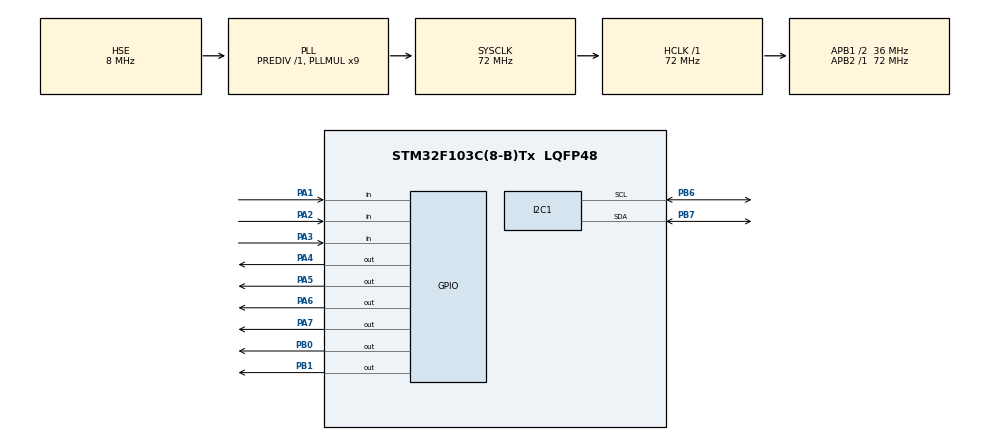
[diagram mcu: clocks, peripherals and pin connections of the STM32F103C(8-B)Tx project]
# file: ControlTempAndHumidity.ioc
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Mcu.Family=STM32F1
Mcu.Name=STM32F103C(8-B)Tx
Mcu.Package=LQFP48
NVIC.PriorityGroup=NVIC_PRIORITYGROUP_4
PA1.GPIO_PuPd=GPIO_PULLUP
PA1.Signal=GPIO_Input
PA13.Mode=Serial_Wire
PA13.Signal=SYS_JTMS-SWDIO
PA14.Mode=Serial_Wire
PA14.Signal=SYS_JTCK-SWCLK
PA2.GPIO_PuPd=GPIO_PULLUP
PA2.Signal=GPIO_Input
PA3.GPIO_PuPd=GPIO_PULLUP
PA3.Signal=GPIO_Input
PA4.PinState=GPIO_PIN_SET
PA4.Signal=GPIO_Output
PA5.PinState=GPIO_PIN_SET
PA5.Signal=GPIO_Output
PA6.PinState=GPIO_PIN_SET
PA6.Signal=GPIO_Output
PA7.GPIO_ModeDefaultOutputPP=GPIO_MODE_OUTPUT_PP
PA7.GPIO_PuPd=GPIO_NOPULL
PA7.GPIO_Speed=GPIO_SPEED_FREQ_HIGH
PA7.PinState=GPIO_PIN_SET
PA7.Signal=GPIO_Output
PB0.Signal=GPIO_Output
PB1.Signal=GPIO_Output
PB6.Mode=I2C
PB6.Signal=I2C1_SCL
PB7.Mode=I2C
PB7.Signal=I2C1_SDA
PD0-OSC_IN.Mode=HSE-External-Oscillator
PD0-OSC_IN.Signal=RCC_OSC_IN
PD1-OSC_OUT.Mode=HSE-External-Oscillator
PD1-OSC_OUT.Signal=RCC_OSC_OUT
ProjectManager.HeapSize=0x200
ProjectManager.StackSize=0x400
ProjectManager.TargetToolchain=MDK-ARM V5.32
RCC.AHBFreq_Value=72000000
RCC.APB1CLKDivider=RCC_HCLK_DIV2
RCC.APB1Freq_Value=36000000
RCC.APB1TimFreq_Value=72000000
RCC.APB2Freq_Value=72000000
RCC.APB2TimFreq_Value=72000000
RCC.HCLKFreq_Value=72000000
RCC.PLLMUL=RCC_PLL_MUL9
RCC.PLLSourceVirtual=RCC_PLLSOURCE_HSE
RCC.SYSCLKFreq_VALUE=72000000
RCC.SYSCLKSource=RCC_SYSCLKSOURCE_PLLCLK
RCC.USBFreq_Value=72000000
TIM2.Period=0xffff-1
TIM2.Prescaler=72-1
VP_TIM2_VS_ClockSourceINT.Mode=Internal
board=custom

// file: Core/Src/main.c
/* USER CODE BEGIN Header */
/**
  ******************************************************************************
  * @file           : main.c
  * @brief          : Main program body
  ******************************************************************************
  * @attention
  *
  * Copyright (c) 2023 STMicroelectronics.
  * All rights reserved.
  *
  * This software is licensed under terms that can be found in the LICENSE file
  * in the root directory of this software component.
  * If no LICENSE file comes with this software, it is provided AS-IS.
  *
  ******************************************************************************
  */
/* USER CODE END Header */
#include "main.h"

/* USER CODE BEGIN Includes */
#include "DHT.h"
#include "LCD.h"
#include "delay_timer.h"
#include "KeyPad.h"
/* USER CODE END Includes */

I2C_HandleTypeDef hi2c1;

TIM_HandleTypeDef htim2;

/* USER CODE BEGIN PV */
DHT_Name DHT1;
/* USER CODE END PV */

void SystemClock_Config(void);
static void MX_GPIO_Init(void);
static void MX_I2C1_Init(void);
static void MX_TIM2_Init(void);

/* USER CODE BEGIN 0 */
void monitorInit()
{
	DHT_Init(&DHT1, DHT11, &htim2, GPIOA, GPIO_PIN_7);
	DELAY_TIM_Init(&htim2);
  lcd_init();
}

void printTemperature()
{
	DHT_ReadTempHum(&DHT1);
	x:
	lcd_reset();
	lcd_send_string("Temp:");
	lcd_print_float_number(DHT1.Temp);
	lcd_send_string(" oC");

	lcd_gotoxy(1,1);
	lcd_send_string(" Set temp:");

	unsigned char n = 2, temp;
	float T = 0;
	while (n > 0)
	{
		temp = readKey();
		if (temp < 10)
		{
			T = T*10+temp;
			lcd_print_integer_number(T);
			DELAY_TIM_Ms(&htim2, 10);
			n--;
		}

		if (T > 50)
		{
			lcd_reset();
			lcd_send_string("Err: not valid!");
			DELAY_TIM_Ms(&htim2, 1000);
			goto x;
			n = 2;
		}
	}

	HAL_GPIO_WritePin(GPIOB, GPIO_PIN_0, GPIO_PIN_SET);

	while (DHT1.Temp < T)
	{
			DHT_ReadTempHum(&DHT1);
			lcd_reset();
			lcd_send_string("Temp:");
			lcd_print_float_number(DHT1.Temp);
			lcd_send_string(" oC");
			DELAY_TIM_Ms(&htim2,1500);
			if (readKey() != 1) break;
	}

	HAL_GPIO_WritePin(GPIOB, GPIO_PIN_0, GPIO_PIN_RESET);

	temp = 0;
	while (temp != 1)
	{
		lcd_reset();
		lcd_send_string("Push button 1");
		lcd_gotoxy(1, 0);
		lcd_send_string("to break");
		DELAY_TIM_Ms(&htim2,20);
		temp = readKey();
	}
}

void printHumidity()
{
	DHT_ReadTempHum(&DHT1);
	y:
	lcd_reset();
	lcd_send_string("Humid:");
	lcd_print_float_number(DHT1.Humi);
	lcd_send_string(" %");

	lcd_gotoxy(1,1);
	lcd_send_string(" Set humid:");

	unsigned char n = 2, temp;
	float H = 0;
	while (n > 0)
	{
		temp = readKey();
		if (temp < 10)
		{
			H = H*10+temp;
			lcd_print_integer_number(H);
			DELAY_TIM_Ms(&htim2, 10);
			n--;
		}

		if (H > 90)
		{
			lcd_reset();
			lcd_send_string("Err: not valid!");
			DELAY_TIM_Ms(&htim2, 1000);
			goto y;
			n = 2;
		}
	}

	HAL_GPIO_WritePin(GPIOB, GPIO_PIN_1, GPIO_PIN_SET);

	while (readKey() != 1)
	{
		DHT_ReadTempHum(&DHT1);
		lcd_reset();
		lcd_send_string("Humid:");
		lcd_print_float_number(DHT1.Humi);
		lcd_send_string(" %");
		DELAY_TIM_Ms(&htim2,1500);

		if (DHT1.Humi > H)
		{
			HAL_GPIO_WritePin(GPIOB, GPIO_PIN_1, GPIO_PIN_RESET);
		}
		else
		{
			HAL_GPIO_WritePin(GPIOB, GPIO_PIN_1, GPIO_PIN_SET);
		}
	}
}

void mainMenu()
{
	lcd_reset();
	int mode = 0;
	lcd_send_string("Main menu");
	lcd_gotoxy(1, 0);
	lcd_send_string("Choose mode:");
	do
	{
		mode = readKey();
		DELAY_TIM_Ms(&htim2, 10);
	}
	while (mode == 10);

	if (mode == 1)
	{
		printTemperature();
	}
	else if (mode == 2)
	{
		printHumidity();
	}
	else
	{
		lcd_reset();
		lcd_send_string("Typed wrong!");
		DELAY_TIM_Ms(&htim2, 1000);
	}
}
/* USER CODE END 0 */

int main(void)
{

  /* MCU Configuration--------------------------------------------------------*/

  /* Reset of all peripherals, Initializes the Flash interface and the Systick. */
  HAL_Init();

  /* Configure the system clock */
  SystemClock_Config();

  /* Initialize all configured peripherals */
  MX_GPIO_Init();
  MX_I2C1_Init();
  MX_TIM2_Init();
  /* USER CODE BEGIN 2 */
	monitorInit();

  /* USER CODE END 2 */

  /* Infinite loop */
  /* USER CODE BEGIN WHILE */
  while (1)
  {
		mainMenu();
    /* USER CODE END WHILE */

  }
}

void SystemClock_Config(void)
{
  RCC_OscInitTypeDef RCC_OscInitStruct = {0};
  RCC_ClkInitTypeDef RCC_ClkInitStruct = {0};

  /** Initializes the RCC Oscillators according to the specified parameters
  * in the RCC_OscInitTypeDef structure.
  */
  RCC_OscInitStruct.OscillatorType = RCC_OSCILLATORTYPE_HSE;
  RCC_OscInitStruct.HSEState = RCC_HSE_ON;
  RCC_OscInitStruct.HSEPredivValue = RCC_HSE_PREDIV_DIV1;
  RCC_OscInitStruct.HSIState = RCC_HSI_ON;
  RCC_OscInitStruct.PLL.PLLState = RCC_PLL_ON;
  RCC_OscInitStruct.PLL.PLLSource = RCC_PLLSOURCE_HSE;
  RCC_OscInitStruct.PLL.PLLMUL = RCC_PLL_MUL9;
  if (HAL_RCC_OscConfig(&RCC_OscInitStruct) != HAL_OK)
  {
    Error_Handler();
  }

  /** Initializes the CPU, AHB and APB buses clocks
  */
  RCC_ClkInitStruct.ClockType = RCC_CLOCKTYPE_HCLK|RCC_CLOCKTYPE_SYSCLK
                              |RCC_CLOCKTYPE_PCLK1|RCC_CLOCKTYPE_PCLK2;
  RCC_ClkInitStruct.SYSCLKSource = RCC_SYSCLKSOURCE_PLLCLK;
  RCC_ClkInitStruct.AHBCLKDivider = RCC_SYSCLK_DIV1;
  RCC_ClkInitStruct.APB1CLKDivider = RCC_HCLK_DIV2;
  RCC_ClkInitStruct.APB2CLKDivider = RCC_HCLK_DIV1;

  if (HAL_RCC_ClockConfig(&RCC_ClkInitStruct, FLASH_LATENCY_2) != HAL_OK)
  {
    Error_Handler();
  }
}

static void MX_I2C1_Init(void)
{

  hi2c1.Instance = I2C1;
  hi2c1.Init.ClockSpeed = 100000;
  hi2c1.Init.DutyCycle = I2C_DUTYCYCLE_2;
  hi2c1.Init.OwnAddress1 = 0;
  hi2c1.Init.AddressingMode = I2C_ADDRESSINGMODE_7BIT;
  hi2c1.Init.DualAddressMode = I2C_DUALADDRESS_DISABLE;
  hi2c1.Init.OwnAddress2 = 0;
  hi2c1.Init.GeneralCallMode = I2C_GENERALCALL_DISABLE;
  hi2c1.Init.NoStretchMode = I2C_NOSTRETCH_DISABLE;
  if (HAL_I2C_Init(&hi2c1) != HAL_OK)
  {
    Error_Handler();
  }

}

static void MX_TIM2_Init(void)
{

  TIM_ClockConfigTypeDef sClockSourceConfig = {0};
  TIM_MasterConfigTypeDef sMasterConfig = {0};

  htim2.Instance = TIM2;
  htim2.Init.Prescaler = 72-1;
  htim2.Init.CounterMode = TIM_COUNTERMODE_UP;
  htim2.Init.Period = 0xffff-1;
  htim2.Init.ClockDivision = TIM_CLOCKDIVISION_DIV1;
  htim2.Init.AutoReloadPreload = TIM_AUTORELOAD_PRELOAD_DISABLE;
  if (HAL_TIM_Base_Init(&htim2) != HAL_OK)
  {
    Error_Handler();
  }
  sClockSourceConfig.ClockSource = TIM_CLOCKSOURCE_INTERNAL;
  if (HAL_TIM_ConfigClockSource(&htim2, &sClockSourceConfig) != HAL_OK)
  {
    Error_Handler();
  }
  sMasterConfig.MasterOutputTrigger = TIM_TRGO_RESET;
  sMasterConfig.MasterSlaveMode = TIM_MASTERSLAVEMODE_DISABLE;
  if (HAL_TIMEx_MasterConfigSynchronization(&htim2, &sMasterConfig) != HAL_OK)
  {
    Error_Handler();
  }

}

static void MX_GPIO_Init(void)
{
  GPIO_InitTypeDef GPIO_InitStruct = {0};

  /* GPIO Ports Clock Enable */
  __HAL_RCC_GPIOD_CLK_ENABLE();
  __HAL_RCC_GPIOA_CLK_ENABLE();
  __HAL_RCC_GPIOB_CLK_ENABLE();

  /*Configure GPIO pin Output Level */
  HAL_GPIO_WritePin(GPIOA, GPIO_PIN_4|GPIO_PIN_5|GPIO_PIN_6|GPIO_PIN_7, GPIO_PIN_SET);

  /*Configure GPIO pin Output Level */
  HAL_GPIO_WritePin(GPIOB, GPIO_PIN_0|GPIO_PIN_1, GPIO_PIN_RESET);

  /*Configure GPIO pins : PA1 PA2 PA3 */
  GPIO_InitStruct.Pin = GPIO_PIN_1|GPIO_PIN_2|GPIO_PIN_3;
  GPIO_InitStruct.Mode = GPIO_MODE_INPUT;
  GPIO_InitStruct.Pull = GPIO_PULLUP;
  HAL_GPIO_Init(GPIOA, &GPIO_InitStruct);

  /*Configure GPIO pins : PA4 PA5 PA6 */
  GPIO_InitStruct.Pin = GPIO_PIN_4|GPIO_PIN_5|GPIO_PIN_6;
  GPIO_InitStruct.Mode = GPIO_MODE_OUTPUT_PP;
  GPIO_InitStruct.Pull = GPIO_NOPULL;
  GPIO_InitStruct.Speed = GPIO_SPEED_FREQ_LOW;
  HAL_GPIO_Init(GPIOA, &GPIO_InitStruct);

  /*Configure GPIO pin : PA7 */
  GPIO_InitStruct.Pin = GPIO_PIN_7;
  GPIO_InitStruct.Mode = GPIO_MODE_OUTPUT_PP;
  GPIO_InitStruct.Pull = GPIO_NOPULL;
  GPIO_InitStruct.Speed = GPIO_SPEED_FREQ_HIGH;
  HAL_GPIO_Init(GPIOA, &GPIO_InitStruct);

  /*Configure GPIO pins : PB0 PB1 */
  GPIO_InitStruct.Pin = GPIO_PIN_0|GPIO_PIN_1;
  GPIO_InitStruct.Mode = GPIO_MODE_OUTPUT_PP;
  GPIO_InitStruct.Pull = GPIO_NOPULL;
  GPIO_InitStruct.Speed = GPIO_SPEED_FREQ_LOW;
  HAL_GPIO_Init(GPIOB, &GPIO_InitStruct);

}

void Error_Handler(void)
{
  __disable_irq();
  while (1)
  {
  }
}
